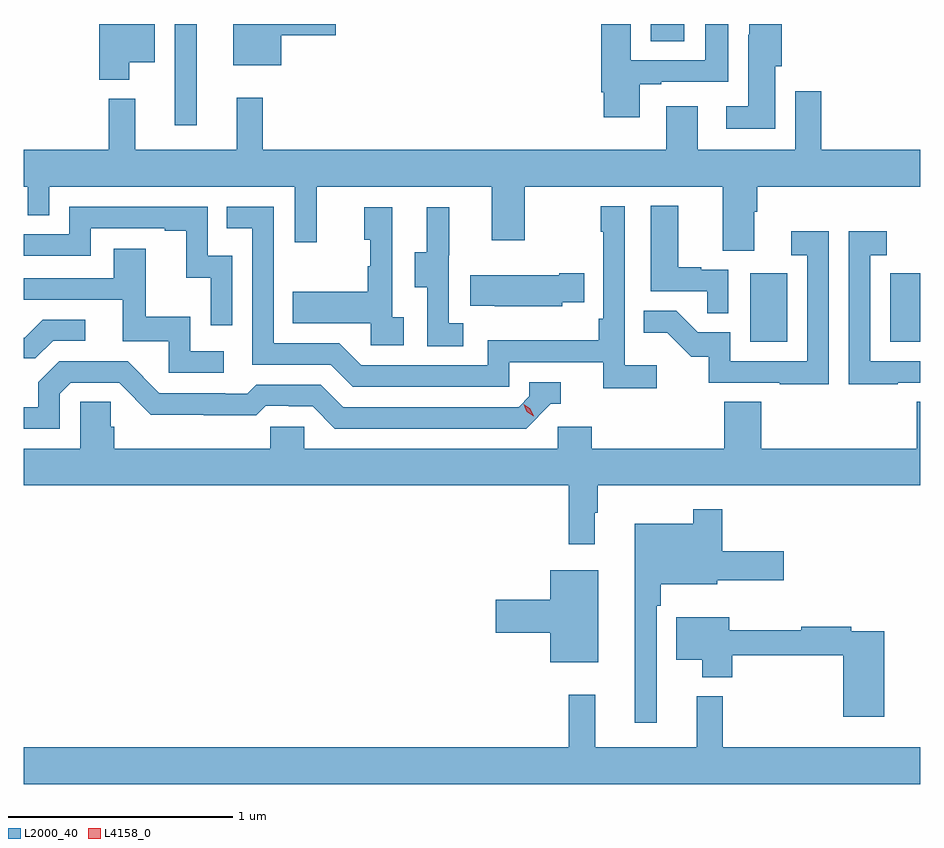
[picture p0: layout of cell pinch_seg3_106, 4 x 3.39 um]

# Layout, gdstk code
import gdstk
lib = gdstk.Library(unit=1e-6, precision=1e-09)
def R(c, l, rs):  # rectangles x0, y0, x1, y1
    for r in rs: c.add(gdstk.rectangle(r[:2], r[2:], *l))
def P(c, l, *ps):  # polygons
    for p in ps: c.add(gdstk.Polygon(p, *l))
L2000_40 = (2000, 40)
L4158_0 = (4158, 0)

pinch_seg3_106 = lib.new_cell('pinch_seg3_106')
R(pinch_seg3_106, L2000_40, [(1034.492,709.548,1034.656,709.855), (1035.116,709.548,1035.25,709.855), (1031.925,710.514,1032.022,710.966), (1034.048,710.89,1034.197,710.966)])
P(pinch_seg3_106, L2000_40, [(1032.4,710.915),(1032.643,710.915),(1032.643,710.966),(1032.185,710.966),(1032.185,710.783),(1032.4,710.783)],
  [(1031.722,710.795),(1031.836,710.795),(1031.836,710.966),(1031.588,710.966),(1031.588,710.717),(1031.722,710.717)],
  [(1033.999,710.697),(1034.095,710.697),(1034.095,710.709),(1034.394,710.709),(1034.394,710.966),(1034.291,710.966),(1034.291,710.805),(1033.957,710.805),(1033.957,710.966),(1033.826,710.966),(1033.826,710.662),(1033.838,710.662),(1033.838,710.55),(1033.999,710.55)],
  [(1034.602,710.778),(1034.632,710.778),(1034.632,710.966),(1034.487,710.966),(1034.487,710.918),(1034.483,710.918),(1034.483,710.599),(1034.385,710.599),(1034.385,710.498),(1034.602,710.498)],
  [(1034.509,710.128),(1034.522,710.128),(1034.522,710.24),(1035.25,710.24),(1035.25,710.404),(1034.807,710.404),(1034.807,710.665),(1034.691,710.665),(1034.691,710.404),(1034.257,710.404),(1034.257,710.599),(1034.117,710.599),(1034.117,710.404),(1032.317,710.404),(1032.317,710.638),(1032.2,710.638),(1032.2,710.404),(1031.747,710.404),(1031.747,710.632),(1031.629,710.632),(1031.629,710.404),(1031.25,710.404),(1031.25,710.24),(1031.268,710.24),(1031.268,710.113),(1031.364,710.113),(1031.364,710.24),(1032.459,710.24),(1032.459,709.992),(1032.557,709.992),(1032.557,710.24),(1033.337,710.24),(1033.337,710.001),(1033.485,710.001),(1033.485,710.24),(1034.369,710.24),(1034.369,709.954),(1034.509,709.954)],
  [(1034.394,709.869),(1034.273,709.869),(1034.273,709.882),(1034.17,709.882),(1034.17,710.155),(1034.048,710.155),(1034.048,709.773),(1034.299,709.773),(1034.299,709.675),(1034.394,709.675)],
  [(1034.074,709.444),(1033.932,709.444),(1033.932,710.152),(1033.824,710.152),(1033.824,710.039),(1033.836,710.039),(1033.836,709.651),(1033.816,709.651),(1033.816,709.555),(1033.32,709.555),(1033.32,709.443),(1032.756,709.443),(1032.657,709.542),(1032.366,709.542),(1032.366,710.151),(1032.157,710.151),(1032.157,710.055),(1032.27,710.055),(1032.27,709.446),(1032.62,709.446),(1032.719,709.347),(1033.416,709.347),(1033.416,709.458),(1033.835,709.458),(1033.835,709.342),(1034.074,709.342)],
  [(1032.18,709.932),(1032.072,709.932),(1032.072,710.151),(1031.454,710.151),(1031.454,710.028),(1031.25,710.028),(1031.25,709.932),(1031.55,709.932),(1031.55,710.055),(1031.879,710.055),(1031.879,710.043),(1031.975,710.043),(1031.975,709.835),(1032.084,709.835),(1032.084,709.623),(1032.18,709.623)],
  [(1032.946,709.658),(1032.894,709.658),(1032.894,710.149),(1032.77,710.149),(1032.77,710.004),(1032.796,710.004),(1032.796,709.886),(1032.786,709.886),(1032.786,709.771),(1032.451,709.771),(1032.451,709.631),(1032.798,709.631),(1032.798,709.533),(1032.946,709.533)],
  [(1033.21,709.631),(1033.146,709.631),(1033.146,709.935),(1033.148,709.935),(1033.148,710.149),(1033.049,710.149),(1033.049,709.947),(1032.995,709.947),(1032.995,709.792),(1033.05,709.792),(1033.05,709.528),(1033.21,709.528)],
  [(1035.149,709.365),(1035.25,709.365),(1035.25,709.461),(1035.027,709.461),(1035.027,709.935),(1035.1,709.935),(1035.1,710.041),(1034.931,710.041),(1034.931,709.36),(1035.149,709.36)],
  [(1034.841,710.041),(1034.673,710.041),(1034.673,709.935),(1034.745,709.935),(1034.745,709.461),(1034.403,709.461),(1034.403,709.59),(1034.258,709.59),(1034.16,709.688),(1034.017,709.688),(1034.017,709.589),(1034.121,709.589),(1034.228,709.482),(1034.305,709.482),(1034.305,709.365),(1034.623,709.365),(1034.623,709.36),(1034.841,709.36)],
  [(1032.142,709.506),(1031.994,709.506),(1031.994,709.66),(1031.795,709.66),(1031.795,709.963),(1031.651,709.963),(1031.651,709.833),(1031.25,709.833),(1031.25,709.737),(1031.693,709.737),(1031.693,709.551),(1031.898,709.551),(1031.898,709.41),(1032.142,709.41)],
  [(1033.653,709.724),(1033.751,709.724),(1033.751,709.854),(1033.64,709.854),(1033.64,709.846),(1033.243,709.846),(1033.243,709.709),(1033.351,709.709),(1033.351,709.706),(1033.653,709.706)],
  [(1031.382,709.554),(1031.524,709.554),(1031.524,709.647),(1031.336,709.647),(1031.255,709.566),(1031.25,709.566),(1031.25,709.474),(1031.302,709.474)],
  [(1031.412,709.317),(1031.46,709.365),(1031.676,709.365),(1031.818,709.223),(1032.054,709.223),(1032.054,709.221),(1032.287,709.221),(1032.329,709.263),(1032.432,709.263),(1032.432,709.26),(1032.539,709.26),(1032.638,709.161),(1033.491,709.161),(1033.602,709.272),(1033.645,709.272),(1033.645,709.368),(1033.506,709.368),(1033.506,709.305),(1033.458,709.257),(1032.675,709.257),(1032.576,709.356),(1032.287,709.356),(1032.248,709.317),(1032.149,709.317),(1032.149,709.32),(1031.856,709.32),(1031.715,709.461),(1031.409,709.461),(1031.315,709.367),(1031.315,709.257),(1031.25,709.257),(1031.25,709.161),(1031.412,709.161)],
  [(1033.798,708.785),(1033.81,708.785),(1033.81,708.908),(1035.25,708.908),(1035.25,709.28),(1035.233,709.28),(1035.233,709.072),(1034.54,709.072),(1034.54,709.28),(1034.375,709.28),(1034.375,709.072),(1033.784,709.072),(1033.784,709.17),(1033.632,709.17),(1033.632,709.072),(1032.501,709.072),(1032.501,709.17),(1032.351,709.17),(1032.351,709.072),(1031.654,709.072),(1031.654,709.17),(1031.639,709.17),(1031.639,709.28),(1031.502,709.28),(1031.502,709.072),(1031.25,709.072),(1031.25,708.908),(1033.681,708.908),(1033.681,708.645),(1033.798,708.645)],
  [(1034.073,708.371),(1034.093,708.371),(1034.093,708.467),(1034.343,708.467),(1034.343,708.485),(1034.641,708.485),(1034.641,708.615),(1034.366,708.615),(1034.366,708.802),(1034.238,708.802),(1034.238,708.736),(1033.976,708.736),(1033.976,707.85),(1034.073,707.85)],
  [(1033.813,708.529),(1033.598,708.529),(1033.598,708.398),(1033.356,708.398),(1033.356,708.251),(1033.598,708.251),(1033.598,708.119),(1033.813,708.119)],
  [(1035.089,708.258),(1034.942,708.258),(1034.942,708.278),(1034.718,708.278),(1034.718,708.261),(1034.398,708.261),(1034.398,708.319),(1034.162,708.319),(1034.162,708.131),(1034.276,708.131),(1034.276,708.053),(1034.411,708.053),(1034.411,708.15),(1034.906,708.15),(1034.906,707.877),(1035.089,707.877)],
  [(1035.25,707.74),(1034.369,707.74),(1034.369,707.968),(1034.252,707.968),(1034.252,707.74),(1033.799,707.74),(1033.799,707.974),(1033.681,707.974),(1033.681,707.74),(1031.25,707.74),(1031.25,707.576),(1035.25,707.576)])
P(pinch_seg3_106, L4158_0, [(1033.526,709.216),(1033.495,709.236),(1033.48,709.269),(1033.48,709.269),(1033.48,709.269),(1033.51,709.249),(1033.526,709.217),(1033.526,709.216)])

lib.write_gds('pinch_seg3_106.gds')
